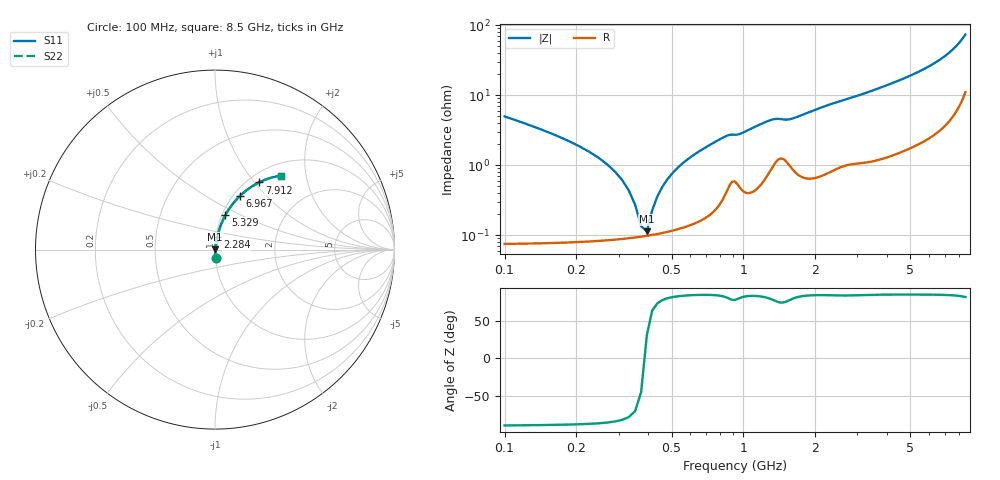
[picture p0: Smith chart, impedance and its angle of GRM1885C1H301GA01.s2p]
!Murata Part Number: GRM1885C1H301GA01
!These Parameters are Measured in Series Mode Connection
!Data Generated on Mar 30, 2021
!  o--ll--o
!Port1  Port2
!  o------o
!Operation Temp=25[degC], DC Bias Voltage=0[V]
!Freq. Start=100[MHz] Stop=9[GHz] 401[Steps]
# Hz S RI R 50
!Freq.(Hz) S11(Real) S11(Imag) S21(Real) S21(Imag) S12(Real) S12(Imag) S22(Real) S22(Imag)
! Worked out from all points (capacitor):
!   401 points, 100 MHz to 8.5 GHz, reference 50 ohm
!   read as one part in series: C = 300 pF near 142 MHz
!   lowest |Z| = 113 mohm at 394 MHz (marker M1)
!   series resonance near 386 MHz, so ESL is about 570 pH
!   S11 on the Smith chart (normalised r, x): 100 MHz: 1.00, -0.10; 2.284 GHz: 1.02, +0.14; 5.329 GHz: 1.04, +0.42; 6.967 GHz: 1.07, +0.71; 7.912 GHz: 1.13, +1.06; 8.5 GHz: 1.22, +1.45
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1e8  0.00319 -0.0493  0.9968 0.0493  0.9968 0.0493  0.00319 -0.0493
2.47e8  0.000986 -0.0127  0.999 0.0127  0.999 0.0127  0.000986 -0.0127
3.1e8  0.000916 -0.00609  0.9991 0.00609  0.9991 0.00609  0.000916 -0.00609
3.52e8  0.00093 -0.00254  0.9991 0.00254  0.9991 0.00254  0.00093 -0.00254
3.94e8  0.000976 0.000576  0.999 -0.000576  0.999 -0.000576  0.000976 0.000576
4.15e8  0.00101 0.00202  0.999 -0.00202  0.999 -0.00202  0.00101 0.00202
4.78e8  0.00114 0.006  0.9989 -0.006  0.9989 -0.006  0.00114 0.006
5.2e8  0.00126 0.00845  0.9987 -0.00845  0.9987 -0.00845  0.00126 0.00845
6.04e8  0.00157 0.013  0.9984 -0.013  0.9984 -0.013  0.00157 0.013
7.09e8  0.00219 0.0185  0.9978 -0.0185  0.9978 -0.0185  0.00219 0.0185
8.56e8  0.00504 0.0258  0.995 -0.0258  0.995 -0.0258  0.00504 0.0258
1.234e9  0.00792 0.04  0.9921 -0.04  0.9921 -0.04  0.00792 0.04
1.507e9  0.013 0.0421  0.987 -0.0421  0.987 -0.0421  0.013 0.0421
2.284e9  0.0128 0.0708  0.9872 -0.0708  0.9872 -0.0708  0.0128 0.0708
2.914e9  0.0188 0.0912  0.9812 -0.0912  0.9812 -0.0912  0.0188 0.0912
4.3e9  0.0355 0.1446  0.9645 -0.1446  0.9645 -0.1446  0.0355 0.1446
5.329e9  0.0584 0.1928  0.9416 -0.1928  0.9416 -0.1928  0.0584 0.1928
5.707e9  0.0703 0.2133  0.9297 -0.2133  0.9297 -0.2133  0.0703 0.2133
6.967e9  0.1372 0.2973  0.8628 -0.2973  0.8628 -0.2973  0.1372 0.2973
7.114e9  0.1494 0.3088  0.8506 -0.3088  0.8506 -0.3088  0.1494 0.3088
7.912e9  0.246 0.3744  0.754 -0.3744  0.754 -0.3744  0.246 0.3744
8.5e9  0.368 0.4125  0.632 -0.4125  0.632 -0.4125  0.368 0.4125
